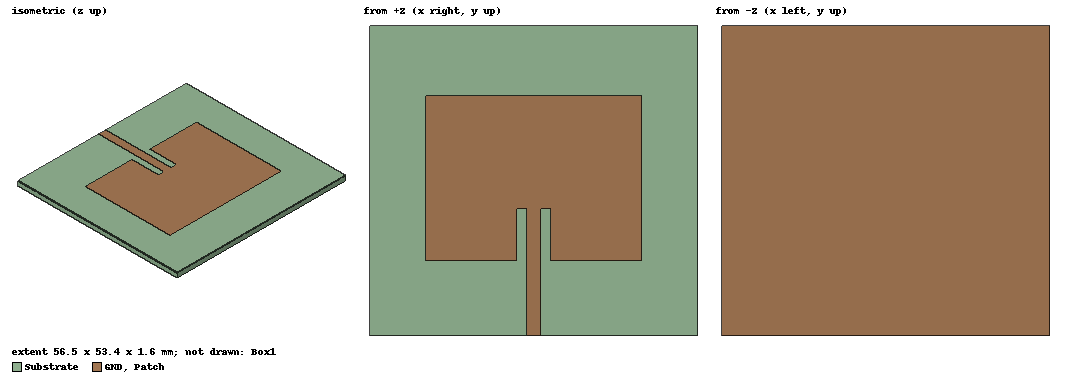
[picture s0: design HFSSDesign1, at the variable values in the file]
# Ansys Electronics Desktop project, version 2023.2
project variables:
  $f = 2.45GHz
  $epsilon_r = 4.4
  $h = 1.6mm
  $Wp = 37.3mm
  $Lp = 28.4mm
  $Wg = $Wp + 12*$h
  $Lg = $Lp + $Lf + $z
  $Wf = 2.4mm
  $g = 1.8mm
  $d = 8.9mm
  $Lf = 13mm
  $z = 12mm
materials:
  vacuum: permittivity=1
  Rogers RO3003 (tm): permittivity=3 dielectric_loss_tangent=0.0013
  Rogers RT/duroid 5880 (tm): permittivity=2.2 dielectric_loss_tangent=0.0009
  air: permittivity=1.0006 permeability=1.0000004
  FR4_epoxy: permittivity=4.4 dielectric_loss_tangent=0.02

design HFSSDesign1 (HFSS, HFSS Terminal Network, model units mm)
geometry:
  GND = rectangle(corner=(-$Wg/2, -$Lg/2, 0mm), x_size=$Wg, y_size=$Lg)
  Substrate [FR4_epoxy] = box(corner=(-$Wg/2, -$Lg/2, 0mm), size=($Wg, $Lg, $h))
  Patch = rectangle(corner=(-$Wp/2, -$Lg/2 +$Lf, $h), x_size=$Wp, y_size=$Lp)
  Left_notch = rectangle(corner=(-$g-$Wf/2, -$Lg/2 + $Lf, $h), x_size=$g, y_size=$d)
  Right_notch = rectangle(corner=($Wf/2, -$Lg/2+$Lf, $h), x_size=$g, y_size=$d)
  Feed = rectangle(corner=(-$Wf/2, -$Lg/2, $h), x_size=$Wf, y_size=$d + $Lf)
  Patch.subtract(Left_notch)
  Patch.subtract(Right_notch)
  Port = rectangle(corner=(-$Wf/2, -$Lg/2, 0mm), z_size=$h, x_size=$Wf)
  Patch.unite(Feed)
  Box1 [air] = box(corner=(-150mm, -150mm, -150mm), size=(300mm, 300mm, 300mm))
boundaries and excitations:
  PerfE1: Perfect E Objects=Patch
  PerfE2: Perfect E Objects=GND
  Rad1: Radiation Objects=Box1
  1: Lumped Port Objects=Port LumpedPortType=Modal Modes{Mode1{IntLine{(0, -26.7, 0) -> (0, -26.7, 1.6)} CharImp=Zpi RenormImp=50ohm}} Impedance=50ohm
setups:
  Setup1: HfssDriven Frequency=2.45GHz MaxDeltaS=0.02 MaximumPasses=20 MinimumPasses=1 MinimumConvergedPasses=1 PercentRefinement=30 BasisOrder=1 PortAccuracy=2 DrivenSolverType="Direct Solver"
    sweep Sweep: 1.5GHz to 3GHz step 0.01GHz; Type=Fast SaveFields
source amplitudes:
  1:1: 1V 0deg
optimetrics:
  ParametricSetup1: Parametric disabled Sim._Setups=[Setup1]
    sweep $g: LIN 1.15mm 2.3mm 0.1mm
  ParametricSetup2: Parametric disabled Sim._Setups=[Setup1]
    sweep $Lp: LIN 28.2mm 28.9mm 0.1mm
    sweep $g: LIN 0.6mm 2.3mm 0.5mm
    sweep $d: LIN 8.9mm 11.1mm 0.2mm
  ParametricSetup3: Parametric disabled Sim._Setups=[Setup1]
    sweep $Lf: LIN 9mm 15mm 0.5mm
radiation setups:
  Infinite Sphere1: Infinite Sphere Theta=0deg..180deg step 2deg Phi=-180deg..180deg step 2deg
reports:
  Terminal S Parameter Plot 1: dB(St(1,1)) vs Freq on Setup1 : Sweep
  Terminal S Parameter Plot 2: dB(St(1,1)) vs Freq on Setup1 : Sweep [$h=all $Wp=all $Lp=all $Wf=all $g=all $d=all $z=all]
  Terminal S Parameter Plot 3: dB(St(1,1)) vs Freq on Setup1 : Sweep [$h=all $Wp=all $Lp=all $Wf=all $g=all $d=all $z=all]
  Terminal S Parameter Plot 4: dB(St(1,1)) vs Freq on Setup1 : Sweep [$h=all $Wp=all $Lp=all $Wf=all $g=all $d=all $z=all]
  Terminal S Parameter Plot 5: dB(St(1,1)) vs Freq on Setup1 : Sweep [$h=all $Wp=all $Lp=all $Wf=all $g=all $d=all $z=all]
  Terminal S Parameter Plot 6: dB(St(1,1)) vs Freq on Setup1 : Sweep [$h=all $Wp=all $Lp=all $Wf=all $g=all $d=all $Lf=all $z=all]
  Terminal S Parameter Plot 7: dB(St(1,1)) vs Freq on Setup1 : Sweep [$h=all $Wp=all $Lp=all $Wf=all $g=all $d=all $Lf=all $z=all]
  Terminal S Parameter Plot 8: dB(St(1,1)) vs Freq on Setup1 : Sweep [$h=all $Wp=all $Lp=all $Wf=all $g=all $d=all $Lf=all $z=all]
